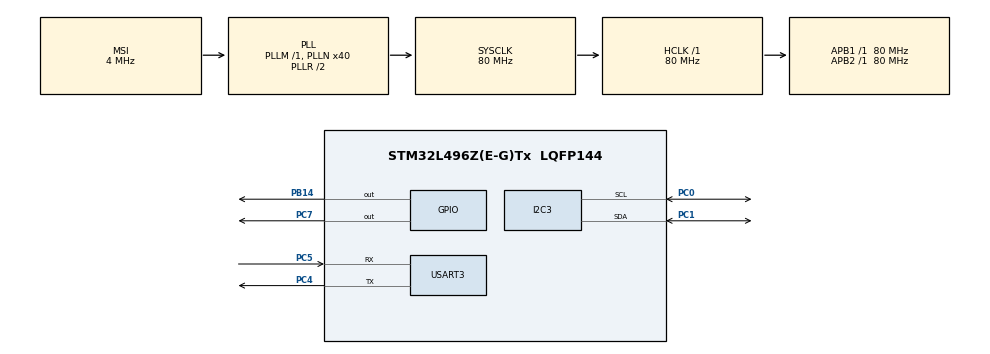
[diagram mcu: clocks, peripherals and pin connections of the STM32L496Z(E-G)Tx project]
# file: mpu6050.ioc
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I2C3.Timing=0x10909CEC
Mcu.Family=STM32L4
Mcu.Name=STM32L496Z(E-G)Tx
Mcu.Package=LQFP144
NVIC.PriorityGroup=NVIC_PRIORITYGROUP_4
PB14.Signal=GPIO_Output
PC0.Mode=I2C
PC0.Signal=I2C3_SCL
PC1.Mode=I2C
PC1.Signal=I2C3_SDA
PC4.Mode=Asynchronous
PC4.Signal=USART3_TX
PC5.Mode=Asynchronous
PC5.Signal=USART3_RX
PC7.Signal=GPIO_Output
ProjectManager.HeapSize=0x200
ProjectManager.StackSize=0x400
ProjectManager.TargetToolchain=STM32CubeIDE
RCC.AHBFreq_Value=80000000
RCC.APB1Freq_Value=80000000
RCC.APB1TimFreq_Value=80000000
RCC.APB2Freq_Value=80000000
RCC.APB2TimFreq_Value=80000000
RCC.CortexFreq_Value=80000000
RCC.HCLKFreq_Value=80000000
RCC.HSE_VALUE=8000000
RCC.HSI48_VALUE=48000000
RCC.HSI_VALUE=16000000
RCC.LSE_VALUE=32768
RCC.MSI_VALUE=4000000
RCC.PLLN=40
RCC.SYSCLKFreq_VALUE=80000000
RCC.SYSCLKSource=RCC_SYSCLKSOURCE_PLLCLK
RCC.VCOOutputFreq_Value=160000000
USART3.VirtualMode-Asynchronous=VM_ASYNC
board=custom

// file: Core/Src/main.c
/* USER CODE BEGIN Header */
/**
  ******************************************************************************
  * @file           : main.c
  * @brief          : Main program body
  ******************************************************************************
  * @attention
  *
  * Copyright (c) 2022 STMicroelectronics.
  * All rights reserved.
  *
  * This software is licensed under terms that can be found in the LICENSE file
  * in the root directory of this software component.
  * If no LICENSE file comes with this software, it is provided AS-IS.
  *
  ******************************************************************************
  */
/* USER CODE END Header */
#include "main.h"

/* USER CODE BEGIN Includes */
/*********************************************************************
 |||||||||||||||||||||||||||||||||||||||||||||||||||||||||||||||||||||
 ||||||||||||||||||->file    : main.c 				||||||||||||||||||
 ||||||||||||||||||->author  : M.Fatih KESKİN		||||||||||||||||||
 ||||||||||||||||||->version : v.1.0 				||||||||||||||||||
 ||||||||||||||||||->date    : 18.08.22				||||||||||||||||||
 ||||||||||||||||||->brief   : usart	 			||||||||||||||||||
 ||||||||||||||||||->company : TBTK			 		||||||||||||||||||
 |||||||||||||||||||||||||||||||||||||||||||||||||||||||||||||||||||||
*********************************************************************/

#define WHO_AM_I_REG 		0x75
#define PWR_MGMT_1_REG 		0x6B
#define SMPLRT_DIV_REG 		0x19
#define ACCEL_CONFIG_REG 	0x1C
#define ACCEL_XOUT_H_REG 	0x3B
#define TEMP_OUT_H_REG 		0x41
#define GYRO_CONFIG_REG 	0x1B
#define GYRO_XOUT_H_REG 	0x43
#define MPU6050_ADDR 		0xD0
#define RAD_TO_DEG 			57.295779513082320876798154814105

#include "stdbool.h"
#include "stdlib.h"
#include "stdint.h"
#include "stdlib.h"
#include "string.h"
#include "stdarg.h"
#include "stdio.h"
#include "math.h"
#include "main.h"
/* USER CODE END Includes */

I2C_HandleTypeDef hi2c3;

UART_HandleTypeDef huart3;

void SystemClock_Config(void);
static void MX_GPIO_Init(void);
static void MX_I2C3_Init(void);
static void MX_USART3_UART_Init(void);

/* USER CODE BEGIN 0 */

/**************************VARIABLES**********************************/
const uint16_t i2c_timeout = 100;
const double Accel_Z_corrector = 14418.0;
uint32_t timer;

/**************************MPU6050 STUCTURE***************************/
typedef struct {

    int16_t Accel_X_RAW;
    int16_t Accel_Y_RAW;
    int16_t Accel_Z_RAW;
    double Ax;
    double Ay;
    double Az;

    int16_t Gyro_X_RAW;
    int16_t Gyro_Y_RAW;
    int16_t Gyro_Z_RAW;
    double Gx;
    double Gy;
    double Gz;

    float Temperature;

    double KalmanAngleX;
    double KalmanAngleY;
} MPU6050_t;

/**************************KALMAN STUCTURE******************************/
typedef struct {
    double Q_angle;
    double Q_bias;
    double R_measure;
    double angle;
    double bias;
    double P[2][2];
} Kalman_t;

Kalman_t KalmanX = {
        .Q_angle = 0.001f,
        .Q_bias = 0.003f,
        .R_measure = 0.03f
};

Kalman_t KalmanY = {
        .Q_angle = 0.001f,
        .Q_bias = 0.003f,
        .R_measure = 0.03f,
};

/************************MPU6050 FUNCTİONS*********************************/

uint8_t MPU6050_Init(I2C_HandleTypeDef *I2Cx) {
    uint8_t check;
    uint8_t Data;

    // check device ID WHO_AM_I

    HAL_I2C_Mem_Read(I2Cx, MPU6050_ADDR, WHO_AM_I_REG, 1, &check, 1, i2c_timeout);

    if (check == 104)  // 0x68 will be returned by the sensor if everything goes well
    {
        // power management register 0X6B we should write all 0's to wake the sensor up
        Data = 0;
        HAL_I2C_Mem_Write(I2Cx, MPU6050_ADDR, PWR_MGMT_1_REG, 1, &Data, 1, i2c_timeout);

        // Set DATA RATE of 1KHz by writing SMPLRT_DIV register
        Data = 0x07;
        HAL_I2C_Mem_Write(I2Cx, MPU6050_ADDR, SMPLRT_DIV_REG, 1, &Data, 1, i2c_timeout);

        // Set accelerometer configuration in ACCEL_CONFIG Register
        // XA_ST=0,YA_ST=0,ZA_ST=0, FS_SEL=0 -> � 2g
        Data = 0x00;
        HAL_I2C_Mem_Write(I2Cx, MPU6050_ADDR, ACCEL_CONFIG_REG, 1, &Data, 1, i2c_timeout);

        // Set Gyroscopic configuration in GYRO_CONFIG Register
        // XG_ST=0,YG_ST=0,ZG_ST=0, FS_SEL=0 -> � 250 �/s
        Data = 0x00;
        HAL_I2C_Mem_Write(I2Cx, MPU6050_ADDR, GYRO_CONFIG_REG, 1, &Data, 1, i2c_timeout);
        return 0;
    }
    return 1;
}

void MPU6050_Read_Accel(I2C_HandleTypeDef *I2Cx, MPU6050_t *DataStruct) {
    uint8_t Rec_Data[6];

    // Read 6 BYTES of data starting from ACCEL_XOUT_H register

    HAL_I2C_Mem_Read(I2Cx, MPU6050_ADDR, ACCEL_XOUT_H_REG, 1, Rec_Data, 6, i2c_timeout);

    DataStruct->Accel_X_RAW = (int16_t) (Rec_Data[0] << 8 | Rec_Data[1]);
    DataStruct->Accel_Y_RAW = (int16_t) (Rec_Data[2] << 8 | Rec_Data[3]);
    DataStruct->Accel_Z_RAW = (int16_t) (Rec_Data[4] << 8 | Rec_Data[5]);

    /*** convert the RAW values into acceleration in 'g'
         we have to divide according to the Full scale value set in FS_SEL
         I have configured FS_SEL = 0. So I am dividing by 16384.0
         for more details check ACCEL_CONFIG Register              ****/

    DataStruct->Ax = DataStruct->Accel_X_RAW / 16384.0;
    DataStruct->Ay = DataStruct->Accel_Y_RAW / 16384.0;
    DataStruct->Az = DataStruct->Accel_Z_RAW / Accel_Z_corrector;
}

void MPU6050_Read_Gyro(I2C_HandleTypeDef *I2Cx, MPU6050_t *DataStruct) {
    uint8_t Rec_Data[6];

    // Read 6 BYTES of data starting from GYRO_XOUT_H register

    HAL_I2C_Mem_Read(I2Cx, MPU6050_ADDR, GYRO_XOUT_H_REG, 1, Rec_Data, 6, i2c_timeout);

    DataStruct->Gyro_X_RAW = (int16_t) (Rec_Data[0] << 8 | Rec_Data[1]);
    DataStruct->Gyro_Y_RAW = (int16_t) (Rec_Data[2] << 8 | Rec_Data[3]);
    DataStruct->Gyro_Z_RAW = (int16_t) (Rec_Data[4] << 8 | Rec_Data[5]);

    /*** convert the RAW values into dps (�/s)
         we have to divide according to the Full scale value set in FS_SEL
         I have configured FS_SEL = 0. So I am dividing by 131.0
         for more details check GYRO_CONFIG Register              ****/

    DataStruct->Gx = DataStruct->Gyro_X_RAW / 131.0;
    DataStruct->Gy = DataStruct->Gyro_Y_RAW / 131.0;
    DataStruct->Gz = DataStruct->Gyro_Z_RAW / 131.0;
}

void MPU6050_Read_Temp(I2C_HandleTypeDef *I2Cx, MPU6050_t *DataStruct) {
    uint8_t Rec_Data[2];
    int16_t temp;

    // Read 2 BYTES of data starting from TEMP_OUT_H_REG register

    HAL_I2C_Mem_Read(I2Cx, MPU6050_ADDR, TEMP_OUT_H_REG, 1, Rec_Data, 2, i2c_timeout);

    temp = (int16_t) (Rec_Data[0] << 8 | Rec_Data[1]);
    DataStruct->Temperature = (float) ((int16_t) temp / (float) 340.0 + (float) 36.53);
}

double Kalman_getAngle(Kalman_t *Kalman, double newAngle, double newRate, double dt) {
    double rate = newRate - Kalman->bias;
    Kalman->angle += dt * rate;

    Kalman->P[0][0] += dt * (dt * Kalman->P[1][1] - Kalman->P[0][1] - Kalman->P[1][0] + Kalman->Q_angle);
    Kalman->P[0][1] -= dt * Kalman->P[1][1];
    Kalman->P[1][0] -= dt * Kalman->P[1][1];
    Kalman->P[1][1] += Kalman->Q_bias * dt;

    double S = Kalman->P[0][0] + Kalman->R_measure;
    double K[2];
    K[0] = Kalman->P[0][0] / S;
    K[1] = Kalman->P[1][0] / S;

    double y = newAngle - Kalman->angle;
    Kalman->angle += K[0] * y;
    Kalman->bias += K[1] * y;

    double P00_temp = Kalman->P[0][0];
    double P01_temp = Kalman->P[0][1];

    Kalman->P[0][0] -= K[0] * P00_temp;
    Kalman->P[0][1] -= K[0] * P01_temp;
    Kalman->P[1][0] -= K[1] * P00_temp;
    Kalman->P[1][1] -= K[1] * P01_temp;

    return Kalman->angle;
};

void MPU6050_Read_All(I2C_HandleTypeDef *I2Cx, MPU6050_t *DataStruct) {
    uint8_t Rec_Data[14];
    int16_t temp;

    // Read 14 BYTES of data starting from ACCEL_XOUT_H register

    HAL_I2C_Mem_Read(I2Cx, MPU6050_ADDR, ACCEL_XOUT_H_REG, 1, Rec_Data, 14, i2c_timeout);

    DataStruct->Accel_X_RAW = (int16_t) (Rec_Data[0] << 8 | Rec_Data[1]);
    DataStruct->Accel_Y_RAW = (int16_t) (Rec_Data[2] << 8 | Rec_Data[3]);
    DataStruct->Accel_Z_RAW = (int16_t) (Rec_Data[4] << 8 | Rec_Data[5]);
    temp = (int16_t) (Rec_Data[6] << 8 | Rec_Data[7]);
    DataStruct->Gyro_X_RAW = (int16_t) (Rec_Data[8] << 8 | Rec_Data[9]);
    DataStruct->Gyro_Y_RAW = (int16_t) (Rec_Data[10] << 8 | Rec_Data[11]);
    DataStruct->Gyro_Z_RAW = (int16_t) (Rec_Data[12] << 8 | Rec_Data[13]);

    DataStruct->Ax = DataStruct->Accel_X_RAW / 16384.0;
    DataStruct->Ay = DataStruct->Accel_Y_RAW / 16384.0;
    DataStruct->Az = DataStruct->Accel_Z_RAW / Accel_Z_corrector;
    DataStruct->Temperature = (float) ((int16_t) temp / (float) 340.0 + (float) 36.53);
    DataStruct->Gx = DataStruct->Gyro_X_RAW / 131.0;
    DataStruct->Gy = DataStruct->Gyro_Y_RAW / 131.0;
    DataStruct->Gz = DataStruct->Gyro_Z_RAW / 131.0;

    // Kalman angle solve
    double dt = (double) (HAL_GetTick() - timer) / 1000;
    timer = HAL_GetTick();
    double roll;
    double roll_sqrt = sqrt(
            DataStruct->Accel_X_RAW * DataStruct->Accel_X_RAW + DataStruct->Accel_Z_RAW * DataStruct->Accel_Z_RAW);
    if (roll_sqrt != 0.0) {
        roll = atan(DataStruct->Accel_Y_RAW / roll_sqrt) * RAD_TO_DEG;
    } else {
        roll = 0.0;
    }
    double pitch = atan2(-DataStruct->Accel_X_RAW, DataStruct->Accel_Z_RAW) * RAD_TO_DEG;
    if ((pitch < -90 && DataStruct->KalmanAngleY > 90) || (pitch > 90 && DataStruct->KalmanAngleY < -90)) {
        KalmanY.angle = pitch;
        DataStruct->KalmanAngleY = pitch;
    } else {
        DataStruct->KalmanAngleY = Kalman_getAngle(&KalmanY, pitch, DataStruct->Gy, dt);
    }
    if (fabs(DataStruct->KalmanAngleY) > 90)
        DataStruct->Gx = -DataStruct->Gx;
    DataStruct->KalmanAngleX = Kalman_getAngle(&KalmanX, roll, DataStruct->Gy, dt);

}

void printMessages(char *format, ...)
{
	char comingMessage[100];
	va_list vaList;
	va_start(vaList, format);
	vsprintf(comingMessage, format, vaList);
	HAL_UART_Transmit(&huart3, (uint8_t*)comingMessage, strlen(comingMessage),HAL_MAX_DELAY);
	va_end(vaList);
}

MPU6050_t MPU6050_1;
float AngX_1, AngY_1;

/* USER CODE END 0 */

int main(void)
{

  /* MCU Configuration--------------------------------------------------------*/

  /* Reset of all peripherals, Initializes the Flash interface and the Systick. */
  HAL_Init();

  /* Configure the system clock */
  SystemClock_Config();

  /* Initialize all configured peripherals */
  MX_GPIO_Init();
  MX_I2C3_Init();
  MX_USART3_UART_Init();
  /* USER CODE BEGIN 2 */
  int init=1, ctr=0;
  /* USER CODE END 2 */

  /* Infinite loop */
  /* USER CODE BEGIN WHILE */
  while (1)
  {
	  char bufAngX_1[100],bufAngY_1[100];
	  init = MPU6050_Init(&hi2c3);
	  if(init==0){
		  ctr++;
		  MPU6050_Read_Accel(&hi2c3, &MPU6050_1);
		  MPU6050_Read_Gyro(&hi2c3, &MPU6050_1);
		  MPU6050_Read_Temp(&hi2c3, &MPU6050_1);
		  MPU6050_Read_All(&hi2c3, &MPU6050_1);

		  AngX_1 = MPU6050_1.KalmanAngleX;
		  AngY_1 = MPU6050_1.KalmanAngleY;

		  gcvt (AngX_1, 5, bufAngX_1);
		  gcvt (AngY_1, 5, bufAngY_1);
		  printMessages("*********%d. MEASUREMENT*********\r\n",ctr);
		  printMessages("X angle:");
		  printMessages(bufAngX_1);
		  printMessages("\r\n");
		  printMessages("Y angle:");
		  printMessages(bufAngY_1);
		  printMessages("\n\n");
		  HAL_Delay (500);
	  }

    /* USER CODE END WHILE */

  }
}

void SystemClock_Config(void)
{
  RCC_OscInitTypeDef RCC_OscInitStruct = {0};
  RCC_ClkInitTypeDef RCC_ClkInitStruct = {0};

  /** Configure the main internal regulator output voltage
  */
  if (HAL_PWREx_ControlVoltageScaling(PWR_REGULATOR_VOLTAGE_SCALE1) != HAL_OK)
  {
    Error_Handler();
  }

  /** Initializes the RCC Oscillators according to the specified parameters
  * in the RCC_OscInitTypeDef structure.
  */
  RCC_OscInitStruct.OscillatorType = RCC_OSCILLATORTYPE_MSI;
  RCC_OscInitStruct.MSIState = RCC_MSI_ON;
  RCC_OscInitStruct.MSICalibrationValue = 0;
  RCC_OscInitStruct.MSIClockRange = RCC_MSIRANGE_6;
  RCC_OscInitStruct.PLL.PLLState = RCC_PLL_ON;
  RCC_OscInitStruct.PLL.PLLSource = RCC_PLLSOURCE_MSI;
  RCC_OscInitStruct.PLL.PLLM = 1;
  RCC_OscInitStruct.PLL.PLLN = 40;
  RCC_OscInitStruct.PLL.PLLP = RCC_PLLP_DIV2;
  RCC_OscInitStruct.PLL.PLLQ = RCC_PLLQ_DIV2;
  RCC_OscInitStruct.PLL.PLLR = RCC_PLLR_DIV2;
  if (HAL_RCC_OscConfig(&RCC_OscInitStruct) != HAL_OK)
  {
    Error_Handler();
  }

  /** Initializes the CPU, AHB and APB buses clocks
  */
  RCC_ClkInitStruct.ClockType = RCC_CLOCKTYPE_HCLK|RCC_CLOCKTYPE_SYSCLK
                              |RCC_CLOCKTYPE_PCLK1|RCC_CLOCKTYPE_PCLK2;
  RCC_ClkInitStruct.SYSCLKSource = RCC_SYSCLKSOURCE_PLLCLK;
  RCC_ClkInitStruct.AHBCLKDivider = RCC_SYSCLK_DIV1;
  RCC_ClkInitStruct.APB1CLKDivider = RCC_HCLK_DIV1;
  RCC_ClkInitStruct.APB2CLKDivider = RCC_HCLK_DIV1;

  if (HAL_RCC_ClockConfig(&RCC_ClkInitStruct, FLASH_LATENCY_4) != HAL_OK)
  {
    Error_Handler();
  }
}

static void MX_I2C3_Init(void)
{

  hi2c3.Instance = I2C3;
  hi2c3.Init.Timing = 0x10909CEC;
  hi2c3.Init.OwnAddress1 = 0;
  hi2c3.Init.AddressingMode = I2C_ADDRESSINGMODE_7BIT;
  hi2c3.Init.DualAddressMode = I2C_DUALADDRESS_DISABLE;
  hi2c3.Init.OwnAddress2 = 0;
  hi2c3.Init.OwnAddress2Masks = I2C_OA2_NOMASK;
  hi2c3.Init.GeneralCallMode = I2C_GENERALCALL_DISABLE;
  hi2c3.Init.NoStretchMode = I2C_NOSTRETCH_DISABLE;
  if (HAL_I2C_Init(&hi2c3) != HAL_OK)
  {
    Error_Handler();
  }

  /** Configure Analogue filter
  */
  if (HAL_I2CEx_ConfigAnalogFilter(&hi2c3, I2C_ANALOGFILTER_ENABLE) != HAL_OK)
  {
    Error_Handler();
  }

  /** Configure Digital filter
  */
  if (HAL_I2CEx_ConfigDigitalFilter(&hi2c3, 0) != HAL_OK)
  {
    Error_Handler();
  }

}

static void MX_USART3_UART_Init(void)
{

  huart3.Instance = USART3;
  huart3.Init.BaudRate = 115200;
  huart3.Init.WordLength = UART_WORDLENGTH_8B;
  huart3.Init.StopBits = UART_STOPBITS_1;
  huart3.Init.Parity = UART_PARITY_NONE;
  huart3.Init.Mode = UART_MODE_TX_RX;
  huart3.Init.HwFlowCtl = UART_HWCONTROL_NONE;
  huart3.Init.OverSampling = UART_OVERSAMPLING_16;
  huart3.Init.OneBitSampling = UART_ONE_BIT_SAMPLE_DISABLE;
  huart3.AdvancedInit.AdvFeatureInit = UART_ADVFEATURE_NO_INIT;
  if (HAL_UART_Init(&huart3) != HAL_OK)
  {
    Error_Handler();
  }

}

static void MX_GPIO_Init(void)
{
  GPIO_InitTypeDef GPIO_InitStruct = {0};

  /* GPIO Ports Clock Enable */
  __HAL_RCC_GPIOC_CLK_ENABLE();
  __HAL_RCC_GPIOB_CLK_ENABLE();

  /*Configure GPIO pin Output Level */
  HAL_GPIO_WritePin(GPIOB, GPIO_PIN_14, GPIO_PIN_RESET);

  /*Configure GPIO pin Output Level */
  HAL_GPIO_WritePin(GPIOC, GPIO_PIN_7, GPIO_PIN_RESET);

  /*Configure GPIO pin : PB14 */
  GPIO_InitStruct.Pin = GPIO_PIN_14;
  GPIO_InitStruct.Mode = GPIO_MODE_OUTPUT_PP;
  GPIO_InitStruct.Pull = GPIO_NOPULL;
  GPIO_InitStruct.Speed = GPIO_SPEED_FREQ_LOW;
  HAL_GPIO_Init(GPIOB, &GPIO_InitStruct);

  /*Configure GPIO pin : PC7 */
  GPIO_InitStruct.Pin = GPIO_PIN_7;
  GPIO_InitStruct.Mode = GPIO_MODE_OUTPUT_PP;
  GPIO_InitStruct.Pull = GPIO_NOPULL;
  GPIO_InitStruct.Speed = GPIO_SPEED_FREQ_LOW;
  HAL_GPIO_Init(GPIOC, &GPIO_InitStruct);

}

void Error_Handler(void)
{
  __disable_irq();
  while (1)
  {
  }
}
